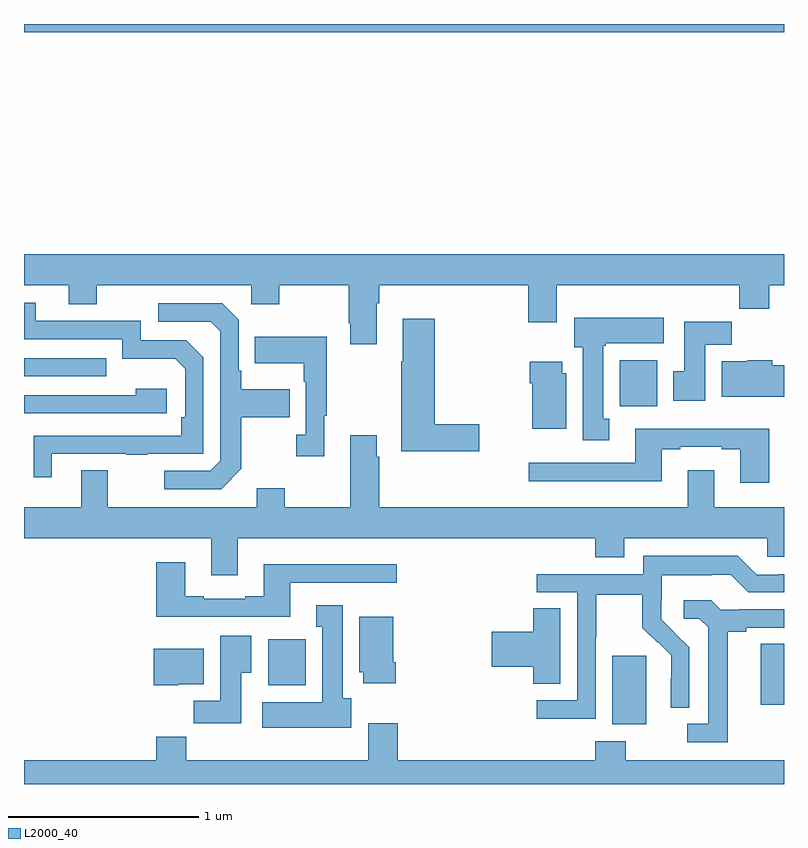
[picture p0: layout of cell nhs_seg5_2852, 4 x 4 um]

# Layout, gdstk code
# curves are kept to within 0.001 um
import gdstk
lib = gdstk.Library(unit=1e-6, precision=1e-09)
def R(c, l, rs):  # rectangles x0, y0, x1, y1
    for r in rs: c.add(gdstk.rectangle(r[:2], r[2:], *l))
def P(c, l, *ps):  # polygons
    for p in ps: c.add(gdstk.Polygon(p, *l))
L2000_40 = (2000, 40)

nhs_seg5_2852 = lib.new_cell('nhs_seg5_2852')
R(nhs_seg5_2852, L2000_40, [(280.097,857.114,280.276,857.475), (280.877,857.217,281,857.537), (278.285,857.318,278.482,857.56), (280.136,858.788,280.333,859.03), (277,858.945,277.433,859.041), (277,860.756,281,860.799)])
P(nhs_seg5_2852, L2000_40, [(278.857,859.328),(278.87,859.328),(278.87,859.424),(279.653,859.424),(279.653,859.23),(279.805,859.23),(279.805,859.424),(280.765,859.424),(280.765,859.3),(280.922,859.3),(280.922,859.424),(281,859.424),(281,859.588),(277,859.588),(277,859.424),(277.235,859.424),(277.235,859.325),(277.383,859.325),(277.383,859.424),(278.196,859.424),(278.196,859.325),(278.343,859.325),(278.343,859.424),(278.71,859.424),(278.71,859.225),(278.717,859.225),(278.717,859.113),(278.857,859.113)],
  [(277.147,858.537),(277.537,858.537),(277.537,858.532),(277.649,858.532),(277.649,858.537),(277.944,858.537),(277.944,859.044),(277.854,859.134),(277.614,859.134),(277.614,859.236),(277.063,859.236),(277.063,859.332),(277,859.332),(277,859.14),(277.518,859.14),(277.518,859.037),(277.795,859.037),(277.848,858.984),(277.848,858.73),(277.828,858.73),(277.828,858.633),(277.051,858.632),(277.051,858.414),(277.147,858.414)],
  [(278.143,858.457),(278.143,858.73),(278.399,858.73),(278.399,858.877),(278.143,858.877),(278.143,858.973),(278.13,858.973),(278.13,859.242),(278.043,859.329),(277.707,859.329),(277.707,859.233),(277.983,859.233),(278.034,859.182),(278.034,858.501),(277.98,858.447),(277.737,858.447),(277.737,858.351),(278.037,858.351)],
  [(280.081,858.722),(280.048,858.722),(280.048,859.105),(280.062,859.105),(280.062,859.118),(280.366,859.118),(280.366,859.252),(279.896,859.252),(279.896,859.098),(279.941,859.098),(279.941,858.609),(280.081,858.609)],
  [(279.397,858.692),(279.161,858.692),(279.161,859.249),(278.993,859.249),(278.993,859.025),(278.986,859.025),(278.986,858.55),(279.397,858.55)],
  [(280.585,859.112),(280.724,859.112),(280.724,859.231),(280.475,859.231),(280.475,858.972),(280.418,858.972),(280.418,858.816),(280.585,858.816)],
  [(278.581,858.737),(278.593,858.737),(278.593,859.153),(278.215,859.153),(278.215,859.013),(278.472,859.013),(278.472,858.917),(278.484,858.917),(278.484,858.638),(278.433,858.638),(278.433,858.525),(278.581,858.525)],
  [(281,859.002),(280.937,859.002),(280.937,859.03),(280.806,859.03),(280.806,859.024),(280.673,859.024),(280.673,858.836),(281,858.836)],
  [(279.853,858.96),(279.832,858.96),(279.832,859.021),(279.662,859.021),(279.662,858.908),(279.674,858.908),(279.674,858.668),(279.853,858.668)],
  [(277.75,858.88),(277.589,858.88),(277.589,858.846),(277,858.846),(277,858.75),(277.75,858.75)],
  [(280.922,858.67),(280.217,858.67),(280.217,858.489),(279.657,858.489),(279.657,858.392),(280.357,858.392),(280.357,858.561),(280.453,858.561),(280.453,858.573),(280.673,858.573),(280.673,858.561),(280.769,858.561),(280.769,858.384),(280.922,858.384)],
  [(278.125,858.092),(280.007,858.092),(280.007,857.993),(280.159,857.993),(280.159,858.092),(280.911,858.092),(280.911,857.994),(281,857.994),(281,858.256),(280.633,858.256),(280.633,858.451),(280.493,858.451),(280.493,858.256),(278.87,858.256),(278.87,858.521),(278.857,858.521),(278.857,858.634),(278.717,858.634),(278.717,858.256),(278.373,858.256),(278.373,858.355),(278.225,858.355),(278.225,858.256),(277.441,858.256),(277.441,858.451),(277.301,858.451),(277.301,858.256),(277,858.256),(277,858.092),(277.985,858.092),(277.985,857.898),(278.125,857.898)],
  [(280.008,857.572),(280.011,857.572),(280.011,857.796),(280.255,857.796),(280.255,857.621),(280.332,857.544),(280.335,857.547),(280.406,857.477),(280.406,857.354),(280.404,857.354),(280.404,857.2),(280.5,857.2),(280.5,857.518),(280.354,857.666),(280.354,857.763),(280.356,857.763),(280.356,857.897),(280.619,857.897),(280.619,857.901),(280.719,857.901),(280.812,857.808),(281,857.808),(281,857.904),(280.973,857.904),(280.973,857.901),(280.857,857.901),(280.757,858.001),(280.26,858.001),(280.26,857.904),(279.699,857.904),(279.699,857.808),(279.912,857.808),(279.912,857.241),(279.699,857.241),(279.699,857.143),(280.008,857.143)],
  [(277.937,857.679),(278.401,857.679),(278.401,857.859),(278.962,857.859),(278.962,857.956),(278.261,857.956),(278.261,857.788),(278.165,857.788),(278.165,857.775),(277.945,857.775),(277.945,857.788),(277.849,857.788),(277.849,857.965),(277.697,857.965),(277.697,857.678),(277.937,857.678)],
  [(280.705,857.6),(280.801,857.6),(280.801,857.622),(281,857.622),(281,857.718),(280.762,857.718),(280.762,857.715),(280.668,857.715),(280.616,857.767),(280.473,857.767),(280.473,857.67),(280.554,857.67),(280.601,857.623),(280.601,857.115),(280.491,857.115),(280.491,857.019),(280.705,857.019)],
  [(278.722,857.25),(278.677,857.25),(278.677,857.74),(278.537,857.74),(278.537,857.627),(278.57,857.627),(278.57,857.23),(278.253,857.23),(278.253,857.096),(278.722,857.096)],
  [(279.823,857.723),(279.68,857.723),(279.68,857.6),(279.462,857.6),(279.462,857.417),(279.68,857.417),(279.68,857.326),(279.823,857.326)],
  [(278.957,857.44),(278.944,857.44),(278.944,857.68),(278.765,857.68),(278.765,857.388),(278.786,857.388),(278.786,857.328),(278.957,857.328)],
  [(278.143,857.384),(278.197,857.384),(278.197,857.578),(278.033,857.578),(278.033,857.236),(277.894,857.236),(277.894,857.118),(278.143,857.118)],
  [(277.812,857.324),(277.945,857.324),(277.945,857.512),(277.682,857.512),(277.682,857.318),(277.812,857.318)],
  [(281,856.924),(280.167,856.924),(280.167,857.023),(280.007,857.023),(280.007,856.924),(278.966,856.924),(278.966,857.119),(278.813,857.119),(278.813,856.924),(277.853,856.924),(277.853,857.048),(277.697,857.048),(277.697,856.924),(277,856.924),(277,856.799),(281,856.799)])

lib.write_gds('nhs_seg5_2852.gds')
